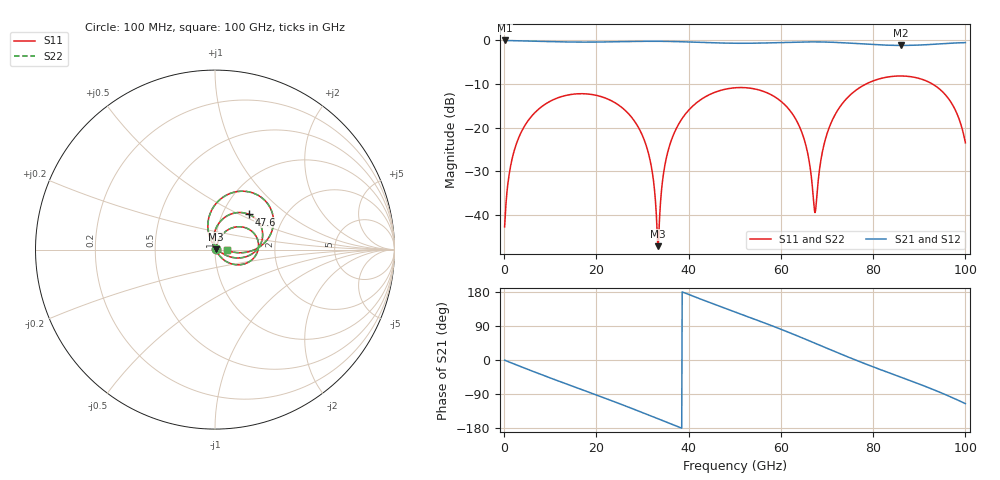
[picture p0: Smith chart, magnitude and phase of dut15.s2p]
! Touchstone file exported from HFSS 2026.1.0
!  File:  C:/ffzhzh/LocalFiles/Ansys_Project_Files/temp_train_TSV_RDL_15_1783437879_50928.aedt
!  Generated:  11:31:28 PM Jul  7, 2026
!  Design:  TSV_RDL
!  Project:  temp_train_TSV_RDL_15_1783437879_50928
! Variables:
!  h_bsmrdl = 3.94um
!  h_ox = 20um
!  h_rdl = 5um
!  h_sub = 67.78um
!  h_tmrdl = 2.29um
!  h_tsv = 67.78um
!  h_via = 3um
!  l_bsmrdl = 104.03um
!  l_sub = 1443.47um
!  l_tmrdl = 150.61um
!  m_sub = 200um
!  pitch = 44.84um
!  r_tsv = 14.17um
!  s_tmrdl = 10um
!  w_bsmrdl = 18.23um
!  w_sub = 500um
!  w_tmrdl = 24.75um
!  x_tsv_center1 = 162.985um
!  x_tsv_center2 = 285.245um
!  x_tsv_center3 = 460.605um
!  x_tsv_center4 = 582.865um
!  x_tsv_center5 = 758.225um
!  x_tsv_center6 = 880.485um
# GHz S MA R 50.000000
! Terminal data exported
! Port[1] = TM_RDL1_1_T1
! Port[2] = TM_RDL5_1_T1
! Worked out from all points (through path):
!   1000 points, 100 MHz to 100 GHz, reference 50 ohm
!   highest |S21| = -0.06 dB at 100 MHz (marker M1); lowest = -1.2 dB at 86.1 GHz (marker M2)
!   group delay of S21, straight-line fit = 13.1 ps
!   lowest |S11| = -47.1 dB at 33.4 GHz (marker M3), VSWR 1.01, Z = 50.4 + j0.249 ohm
!   |S11| at or under -10 dB: start of sweep to 78.48 GHz; 92.83 GHz to end of sweep
!   |S22| runs from -47.2 to -8.2 dB; largest |S21 - S12| = 9.8e-14
!   S11 on the Smith chart (normalised r, x): 100 MHz: 1.01, +0.01; 47.6 GHz: 1.33, +0.56; 100 GHz: 1.14, -0.01
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0.1  0.007351 23.4  0.9933 -0.5  0.9933 -0.5  0.007351 23.4
! Gamma 0 0 0 0
! Port Impedance 50 0 50 0
1.7  0.04346 68.8  0.9894 -8.3  0.9894 -8.3  0.04346 68.8
4.6  0.1082 61.5  0.9821 -22.2  0.9821 -22.2  0.1082 61.5
16.8  0.2447 8.9  0.9509 -78.0  0.9509 -78.0  0.2447 8.9
23.8  0.1961 -21.7  0.9588 -109.6  0.9588 -109.6  0.1962 -21.7
28.9  0.1053 -44.0  0.9694 -133.6  0.9694 -133.6  0.1054 -44.0
31.6  0.04351 -53.4  0.972 -146.5  0.972 -146.5  0.04359 -53.5
33.4  0.004426 33.9  0.9716 -155.3  0.9716 -155.3  0.004347 32.9
35  0.04104 98.7  0.9697 -163.0  0.9697 -163.0  0.04094 98.8
37.3  0.09727 91.3  0.9643 -174.1  0.9643 -174.1  0.09717 91.3
47.6  0.2728 45.9  0.9272 137.9  0.9272 137.9  0.2727 46.0
50.1  0.2861 35.1  0.9229 126.6  0.9229 126.6  0.286 35.1
61.8  0.161 -16.0  0.9474 72.4  0.9474 72.4  0.1609 -15.9
65  0.07504 -27.2  0.9556 56.5  0.9556 56.5  0.07507 -26.9
66.7  0.02462 -18.1  0.957 47.9  0.957 47.9  0.02479 -17.2
67.5  0.01121 59.3  0.9568 43.8  0.9568 43.8  0.01162 58.8
69.6  0.07231 113.1  0.9529 33.0  0.9529 33.0  0.07238 112.7
73  0.1791 101.3  0.9377 15.7  0.9377 15.7  0.1792 101.1
83.4  0.3813 55.3  0.876 -33.6  0.876 -33.6  0.3813 55.2
86.1  0.39 43.7  0.8719 -45.7  0.8719 -45.7  0.39 43.6
95.1  0.2558 4.4  0.9121 -88.4  0.9121 -88.4  0.2557 4.4
100  0.06715 -3.9  0.9378 -115.1  0.9378 -115.1  0.06713 -3.8
